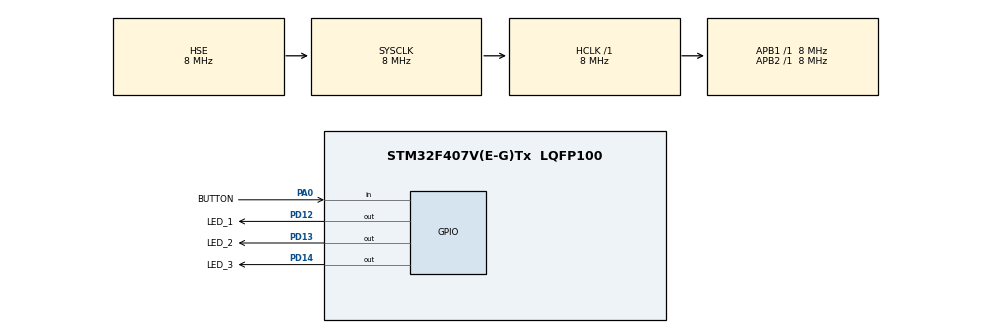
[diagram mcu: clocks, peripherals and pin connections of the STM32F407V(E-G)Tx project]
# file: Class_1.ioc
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Mcu.Family=STM32F4
Mcu.Name=STM32F407V(E-G)Tx
Mcu.Package=LQFP100
NVIC.PriorityGroup=NVIC_PRIORITYGROUP_4
NVIC.TIM1_UP_TIM10_IRQn=true\:0\:0\:false\:false\:true\:true\:true
NVIC.TIM2_IRQn=true\:0\:0\:false\:false\:true\:true\:true
PA0-WKUP.GPIO_Label=BUTTON
PA0-WKUP.GPIO_PuPd=GPIO_PULLDOWN
PA0-WKUP.Signal=GPIO_Input
PA13.Mode=Serial_Wire
PA13.Signal=SYS_JTMS-SWDIO
PA14.Mode=Serial_Wire
PA14.Signal=SYS_JTCK-SWCLK
PD12.GPIO_Label=LED_1
PD12.Signal=GPIO_Output
PD13.GPIO_Label=LED_2
PD13.Signal=GPIO_Output
PD14.GPIO_Label=LED_3
PD14.Signal=GPIO_Output
PH0-OSC_IN.Mode=HSE-External-Oscillator
PH0-OSC_IN.Signal=RCC_OSC_IN
PH1-OSC_OUT.Mode=HSE-External-Oscillator
PH1-OSC_OUT.Signal=RCC_OSC_OUT
ProjectManager.HeapSize=0x200
ProjectManager.StackSize=0x400
ProjectManager.TargetToolchain=STM32CubeIDE
RCC.48MHZClocksFreq_Value=84000000
RCC.AHBFreq_Value=8000000
RCC.APB1Freq_Value=8000000
RCC.APB1TimFreq_Value=8000000
RCC.APB2Freq_Value=8000000
RCC.APB2TimFreq_Value=8000000
RCC.CortexFreq_Value=8000000
RCC.HCLKFreq_Value=8000000
RCC.HSE_VALUE=8000000
RCC.HSI_VALUE=16000000
RCC.LSE_VALUE=32768
RCC.PLLM=8
RCC.PLLN=168
RCC.SYSCLKFreq_VALUE=8000000
RCC.SYSCLKSource=RCC_SYSCLKSOURCE_HSE
RCC.VCOOutputFreq_Value=336000000
TIM1.Period=999
TIM1.Prescaler=7999
TIM2.Period=499
TIM2.Prescaler=7999
VP_TIM1_VS_ClockSourceINT.Mode=Internal
VP_TIM2_VS_ClockSourceINT.Mode=Internal
board=custom

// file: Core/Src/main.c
/* USER CODE BEGIN Header */
/**
  ******************************************************************************
  * @file           : main.c
  * @brief          : Main program body
  ******************************************************************************
  * @attention
  *
  * Copyright (c) 2023 STMicroelectronics.
  * All rights reserved.
  *
  * This software is licensed under terms that can be found in the LICENSE file
  * in the root directory of this software component.
  * If no LICENSE file comes with this software, it is provided AS-IS.
  *
  ******************************************************************************
  */
/* USER CODE END Header */
#include "main.h"

/* USER CODE BEGIN Includes */
#include "stdio.h"
/* USER CODE END Includes */

TIM_HandleTypeDef htim1;
TIM_HandleTypeDef htim2;

void SystemClock_Config(void);
static void MX_GPIO_Init(void);
static void MX_TIM1_Init(void);
static void MX_TIM2_Init(void);

/* USER CODE BEGIN 0 */
int counter = 0;
int led_status=0;
int button_status=0;
uint32_t count1 =0;
uint32_t count2 =0;

void HAL_TIM_PeriodElapsedCallback(TIM_HandleTypeDef *htim)
{
	if(htim->Instance==TIM1){

		  HAL_GPIO_TogglePin(LED_1_GPIO_Port, LED_1_Pin);
		  count1=HAL_GetTick();
	}
	if(htim->Instance==TIM2){

			  HAL_GPIO_TogglePin(LED_3_GPIO_Port, LED_3_Pin);
			  count2=HAL_GetTick();
		}

}
/* USER CODE END 0 */

int main(void)
{

  /* MCU Configuration--------------------------------------------------------*/

  /* Reset of all peripherals, Initializes the Flash interface and the Systick. */
  HAL_Init();

  /* Configure the system clock */
  SystemClock_Config();

  /* Initialize all configured peripherals */
  MX_GPIO_Init();
  MX_TIM1_Init();
  MX_TIM2_Init();
  /* USER CODE BEGIN 2 */

//HAL_GPIO_WritePin(LED_1_GPIO_Port, LED_1_Pin,1);
  HAL_TIM_Base_Start_IT(&htim2);
  HAL_TIM_Base_Start_IT(&htim1);
  /* USER CODE END 2 */

  /* Infinite loop */
  while (1)
  {

    /* USER CODE BEGIN 3 */
	HAL_GPIO_TogglePin(LED_2_GPIO_Port, LED_2_Pin);
	HAL_Delay(2000);

  }
  /* USER CODE END 3 */
}

void SystemClock_Config(void)
{
  RCC_OscInitTypeDef RCC_OscInitStruct = {0};
  RCC_ClkInitTypeDef RCC_ClkInitStruct = {0};

  /** Configure the main internal regulator output voltage
  */
  __HAL_RCC_PWR_CLK_ENABLE();
  __HAL_PWR_VOLTAGESCALING_CONFIG(PWR_REGULATOR_VOLTAGE_SCALE1);
  /** Initializes the RCC Oscillators according to the specified parameters
  * in the RCC_OscInitTypeDef structure.
  */
  RCC_OscInitStruct.OscillatorType = RCC_OSCILLATORTYPE_HSE;
  RCC_OscInitStruct.HSEState = RCC_HSE_ON;
  RCC_OscInitStruct.PLL.PLLState = RCC_PLL_NONE;
  if (HAL_RCC_OscConfig(&RCC_OscInitStruct) != HAL_OK)
  {
    Error_Handler();
  }
  /** Initializes the CPU, AHB and APB buses clocks
  */
  RCC_ClkInitStruct.ClockType = RCC_CLOCKTYPE_HCLK|RCC_CLOCKTYPE_SYSCLK
                              |RCC_CLOCKTYPE_PCLK1|RCC_CLOCKTYPE_PCLK2;
  RCC_ClkInitStruct.SYSCLKSource = RCC_SYSCLKSOURCE_HSE;
  RCC_ClkInitStruct.AHBCLKDivider = RCC_SYSCLK_DIV1;
  RCC_ClkInitStruct.APB1CLKDivider = RCC_HCLK_DIV1;
  RCC_ClkInitStruct.APB2CLKDivider = RCC_HCLK_DIV1;

  if (HAL_RCC_ClockConfig(&RCC_ClkInitStruct, FLASH_LATENCY_0) != HAL_OK)
  {
    Error_Handler();
  }
}

static void MX_TIM1_Init(void)
{

  TIM_ClockConfigTypeDef sClockSourceConfig = {0};
  TIM_MasterConfigTypeDef sMasterConfig = {0};

  htim1.Instance = TIM1;
  htim1.Init.Prescaler = 7999;
  htim1.Init.CounterMode = TIM_COUNTERMODE_UP;
  htim1.Init.Period = 999;
  htim1.Init.ClockDivision = TIM_CLOCKDIVISION_DIV1;
  htim1.Init.RepetitionCounter = 0;
  htim1.Init.AutoReloadPreload = TIM_AUTORELOAD_PRELOAD_DISABLE;
  if (HAL_TIM_Base_Init(&htim1) != HAL_OK)
  {
    Error_Handler();
  }
  sClockSourceConfig.ClockSource = TIM_CLOCKSOURCE_INTERNAL;
  if (HAL_TIM_ConfigClockSource(&htim1, &sClockSourceConfig) != HAL_OK)
  {
    Error_Handler();
  }
  sMasterConfig.MasterOutputTrigger = TIM_TRGO_RESET;
  sMasterConfig.MasterSlaveMode = TIM_MASTERSLAVEMODE_DISABLE;
  if (HAL_TIMEx_MasterConfigSynchronization(&htim1, &sMasterConfig) != HAL_OK)
  {
    Error_Handler();
  }

}

static void MX_TIM2_Init(void)
{

  TIM_ClockConfigTypeDef sClockSourceConfig = {0};
  TIM_MasterConfigTypeDef sMasterConfig = {0};

  htim2.Instance = TIM2;
  htim2.Init.Prescaler = 7999;
  htim2.Init.CounterMode = TIM_COUNTERMODE_UP;
  htim2.Init.Period = 499;
  htim2.Init.ClockDivision = TIM_CLOCKDIVISION_DIV1;
  htim2.Init.AutoReloadPreload = TIM_AUTORELOAD_PRELOAD_DISABLE;
  if (HAL_TIM_Base_Init(&htim2) != HAL_OK)
  {
    Error_Handler();
  }
  sClockSourceConfig.ClockSource = TIM_CLOCKSOURCE_INTERNAL;
  if (HAL_TIM_ConfigClockSource(&htim2, &sClockSourceConfig) != HAL_OK)
  {
    Error_Handler();
  }
  sMasterConfig.MasterOutputTrigger = TIM_TRGO_RESET;
  sMasterConfig.MasterSlaveMode = TIM_MASTERSLAVEMODE_DISABLE;
  if (HAL_TIMEx_MasterConfigSynchronization(&htim2, &sMasterConfig) != HAL_OK)
  {
    Error_Handler();
  }

}

static void MX_GPIO_Init(void)
{
  GPIO_InitTypeDef GPIO_InitStruct = {0};

  /* GPIO Ports Clock Enable */
  __HAL_RCC_GPIOH_CLK_ENABLE();
  __HAL_RCC_GPIOA_CLK_ENABLE();
  __HAL_RCC_GPIOD_CLK_ENABLE();

  /*Configure GPIO pin Output Level */
  HAL_GPIO_WritePin(GPIOD, LED_1_Pin|LED_2_Pin|LED_3_Pin, GPIO_PIN_RESET);

  /*Configure GPIO pin : BUTTON_Pin */
  GPIO_InitStruct.Pin = BUTTON_Pin;
  GPIO_InitStruct.Mode = GPIO_MODE_INPUT;
  GPIO_InitStruct.Pull = GPIO_PULLDOWN;
  HAL_GPIO_Init(BUTTON_GPIO_Port, &GPIO_InitStruct);

  /*Configure GPIO pins : LED_1_Pin LED_2_Pin LED_3_Pin */
  GPIO_InitStruct.Pin = LED_1_Pin|LED_2_Pin|LED_3_Pin;
  GPIO_InitStruct.Mode = GPIO_MODE_OUTPUT_PP;
  GPIO_InitStruct.Pull = GPIO_NOPULL;
  GPIO_InitStruct.Speed = GPIO_SPEED_FREQ_LOW;
  HAL_GPIO_Init(GPIOD, &GPIO_InitStruct);

}

void Error_Handler(void)
{
  __disable_irq();
  while (1)
  {
  }
}
